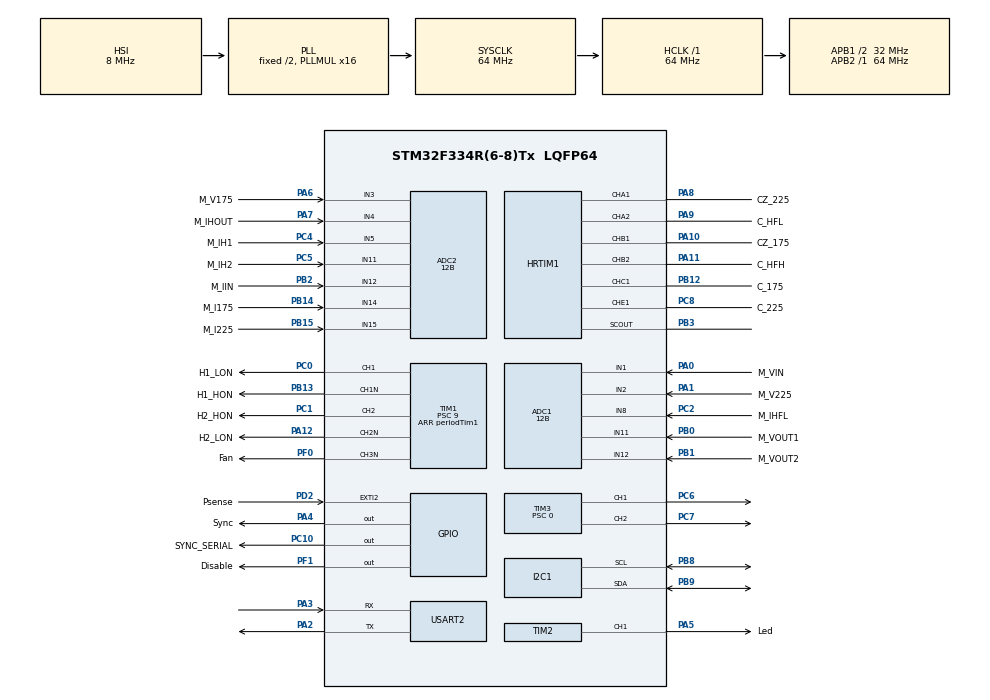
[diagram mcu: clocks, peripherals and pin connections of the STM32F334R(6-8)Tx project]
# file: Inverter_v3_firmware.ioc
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NVIC.EXTI2_TSC_IRQn=true\:4\:0\:true\:false\:true\:true\:true
HRTIM1.NumberSetSource1-Output_TE1=1
NVIC.ADC1_2_IRQn=true\:3\:0\:true\:true\:true\:3\:true\:true
HRTIM1.UpdateTrigger1-Output_TB1TB2=HRTIM_TIMUPDATETRIGGER_MASTER
ADC1.LowPowerAutoWait=DISABLE
TIM1.OCIdleState_1=TIM_OCIDLESTATE_RESET
TIM1.OCIdleState_2=TIM_OCIDLESTATE_RESET
NVIC.I2C1_EV_IRQn=true\:0\:0\:true\:true\:true\:7\:true\:true
ADC2.SamplingTime-1\#ChannelRegularConversion=ADC_SAMPLETIME_19CYCLES_5
VP_ADC1_TempSens_Input.Mode=IN-TempSens
TIM1.Pulse-PWM\ Generation1\ CH1\ CH1N=periodTim1/2+1
HRTIM1.NumberUpdateTrigger-Output_TB1TB2=2
TIM1.Break2State=TIM_BREAK2_DISABLE
PB14.GPIO_Label=M_I175
ADC1.Rank-17\#ChannelRegularConversion=1
HRTIM1.CompareUnit2-Output_TA1TA2=HRTIM_COMPAREUNIT_2
PA6.GPIO_Label=M_V175
ADC2.SamplingTime-4\#ChannelRegularConversion=ADC_SAMPLETIME_19CYCLES_5
PC5.Mode=IN11-Single-Ended
PB13.Signal=TIM1_CH1N
HRTIM1.ResetTrigger1-Output_TE1=HRTIM_TIMRESETTRIGGER_MASTER_PER
HRTIM1.ResetTrigger1-Output_TB1TB2=HRTIM_TIMRESETTRIGGER_MASTER_CMP1
TIM1.Pulse-PWM\ Generation2\ CH2\ CH2N=periodTim1/2
VP_TIM2_VS_ClockSourceITR.Mode=TriggerSource_ITR0
HRTIM1.NumberSetSource1-Output_TC1=1
HRTIM1.Event_EEV2=__NULL
HRTIM1.Event_EEV3=__NULL
HRTIM1.CompareUnit3-Output_TA1TA2=HRTIM_COMPAREUNIT_3
HRTIM1.ResetTrigger1-Output_TA1TA2=HRTIM_TIMRESETTRIGGER_MASTER_PER
ADC1.Offset-17\#ChannelRegularConversion=0
HRTIM1.NumberResetSource1-Output_TA1TA2=1
RCC.APB2TimFreq_Value=64000000
Dma.ADC1.0.Direction=DMA_PERIPH_TO_MEMORY
PC7.Signal=S_TIM3_CH2
HRTIM1.ResetOutput1_Source1-Output_TA1TA2=HRTIM_OUTPUTRESET_TIMCMP1
TIM1.AutomaticOutput=TIM_AUTOMATICOUTPUT_DISABLE
VP_TIM3_VS_ControllerModeClock.Mode=Clock Mode
ADC1.Rank-21\#ChannelRegularConversion=5
ADC2.EOCSelection=ADC_EOC_SEQ_CONV
ADC1.OffsetNumber-20\#ChannelRegularConversion=ADC_OFFSET_NONE
Dma.ADC1.0.MemDataAlignment=DMA_MDATAALIGN_WORD
HRTIM1.NumberResetSource1-Output_TE1=1
VP_HRTIM1_VS_hrtimMasterTimerNoOutput.Mode=MasterTimer
HRTIM1.ModeTimeBase-Output_TA1TA2=HRTIM_MODE_SINGLESHOT_RETRIGGERABLE
PB2.Signal=ADC2_IN12
PB3.Mode=SCOUTmode
ADC1.ScanConvMode=ADC_SCAN_ENABLE
ADC1.Offset-21\#ChannelRegularConversion=0
ADC2.OffsetNumber-4\#ChannelRegularConversion=ADC_OFFSET_NONE
TIM15.Period=19
PB12.GPIO_Label=C_175
HRTIM1.CompareUnit1-Output_TC1=HRTIM_COMPAREUNIT_1
VP_ADC1_Vref_Input.Mode=IN-Vrefint
TIM15.TIM_MasterSlaveMode=TIM_MASTERSLAVEMODE_DISABLE
HRTIM1.ModeTimeBase-Output_TB1TB2=HRTIM_MODE_SINGLESHOT_RETRIGGERABLE
ADC1.Channel-19\#ChannelRegularConversion=ADC_CHANNEL_8
PC4.GPIO_Label=M_IH1
HRTIM1.UpdateTrigger2-Output_TB1TB2=HRTIM_TIMUPDATETRIGGER_TIMER_B
ADC1.OffsetNumber-19\#ChannelRegularConversion=ADC_OFFSET_NONE
PB14.Mode=IN14-Single-Ended
PB1.GPIO_Label=M_VOUT2
Dma.ADC1.0.PeriphInc=DMA_PINC_DISABLE
TIM1.DeadTime=20
NVIC.TIM2_IRQn=true\:3\:0\:true\:true\:true\:5\:true\:true
PA0.Mode=IN1-Single-Ended
SH.ADCx_IN8.0=ADC1_IN8,IN8-Single-Ended
TIM1.OCMode_PWM-PWM\ Generation1\ CH1\ CH1N=TIM_OCMODE_PWM2
PA8.Signal=HRTIM1_CHA1
TIM1.OCMode_PWM-PWM\ Generation3\ CH3N=TIM_OCMODE_PWM1
TIM15.Channel-Output\ Compare1\ No\ Output=TIM_CHANNEL_1
ADC1.OffsetNumber-23\#ChannelRegularConversion=ADC_OFFSET_NONE
VP_TIM1_VS_ClockSourceINT.Mode=Internal
PA0.Signal=ADC1_IN1
HRTIM1.NumberResetSource1-Output_TC1=1
HRTIM1.UpdateTrigger1-Output_TA1TA2=HRTIM_TIMUPDATETRIGGER_MASTER
ADC1.SamplingTime-23\#ChannelRegularConversion=ADC_SAMPLETIME_61CYCLES_5
Mcu.Package=LQFP64
PB9.Signal=I2C1_SDA
TIM2.Prescaler=249
PB1.Signal=ADC1_IN12
ADC1.EnableInjectedConversion=DISABLE
ADC1.Channel-23\#ChannelRegularConversion=ADC_CHANNEL_VREFINT
HRTIM1.SyncOutputPolarity=HRTIM_SYNCOUTPUTPOLARITY_POSITIVE
ADC2.Overrun=ADC_OVR_DATA_OVERWRITTEN
HRTIM1.ResetOutput1_Source1-Output_TB1TB2=HRTIM_OUTPUTRESET_TIMCMP1
ADC2.Channel-1\#ChannelRegularConversion=ADC_CHANNEL_4
PA10.Signal=HRTIM1_CHB1
ADC2.Offset-2\#ChannelRegularConversion=0
ADC2.SubFamily=STM32F334x8
TIM15.OCMode_1=TIM_OCMODE_ACTIVE
PF1\ /\ OSC_OUT.GPIO_Speed=GPIO_SPEED_FREQ_HIGH
RCC.APB1TimFreq_Value=64000000
HRTIM1.UpdateTrigger2-Output_TA1TA2=HRTIM_TIMUPDATETRIGGER_TIMER_E
TIM3.Pulse-PWM\ Generation2\ CH2=1
ADC2.Rank-2\#ChannelRegularConversion=3
TIM1.Period=periodTim1
PB13.Mode=PWM Generation1 CH1 CH1N
HRTIM1.Enable=HRTIM_BURSTMODECTL_DISABLED
ADC2.Channel-5\#ChannelRegularConversion=ADC_CHANNEL_14
ADC2.EnableAnalogWatchDog1=false
PA4.GPIO_Label=Sync
ADC2.EnableAnalogWatchDog2=false
ADC1.EOCSelection=ADC_EOC_SEQ_CONV
ADC2.EnableAnalogWatchDog3=false
PC4.Mode=IN5-Single-Ended
ADC2.ScanConvMode=ADC_SCAN_ENABLE
HRTIM1.ResetTrigger1-Output_TC1=HRTIM_TIMRESETTRIGGER_MASTER_PER
ADC1.SamplingTime-19\#ChannelRegularConversion=ADC_SAMPLETIME_19CYCLES_5
HRTIM1.CompareUnit1-Output_TB1TB2=HRTIM_COMPAREUNIT_1
TIM1.OCPolarity_1=TIM_OCPOLARITY_HIGH
Dma.ADC1.0.Instance=DMA1_Channel1
TIM1.OCPolarity_2=TIM_OCPOLARITY_HIGH
ADC2.Offset-3\#ChannelRegularConversion=0
HRTIM1.NumberSetSource1-Output_TB1TB2=1
ADC1.Offset-18\#ChannelRegularConversion=0
ADC1.Channel-22\#ChannelRegularConversion=ADC_CHANNEL_TEMPSENSOR
HRTIM1.ResetUpdate-Output_TE1=HRTIM_TIMUPDATEONRESET_DISABLED
TIM1.CounterMode=TIM_COUNTERMODE_CENTERALIGNED3
ADC2.Rank-3\#ChannelRegularConversion=4
PA9.GPIO_Label=C_HFL
PC6.Signal=S_TIM3_CH1
PC2.Signal=ADCx_IN8
HRTIM1.PreloadEnable-Output_TB1TB2=HRTIM_PRELOAD_ENABLED
PA11.GPIO_Label=C_HFH
TIM1.Channel-PWM\ Generation1\ CH1\ CH1N=TIM_CHANNEL_1
ADC1.ExternalTrigConvEdge=ADC_EXTERNALTRIGCONVEDGE_RISING
PC0.Signal=S_TIM1_CH1
RCC.APB1CLKDivider=RCC_HCLK_DIV2
ADC2.SamplingTime-5\#ChannelRegularConversion=ADC_SAMPLETIME_61CYCLES_5
HRTIM1.NumberSetSource2_TB=1
HRTIM1.NumberSetSource2_TA=1
HRTIM1.CompareUnit1-Output_TE1=HRTIM_COMPAREUNIT_1
PA3.Mode=Asynchronous
TIM1.Channel-PWM\ Generation2\ CH2\ CH2N=TIM_CHANNEL_2
PA8.GPIO_Label=CZ_225
TIM3.Pulse-PWM\ Generation1\ CH1=1
PF1\ /\ OSC_OUT.GPIO_Label=Disable
ADC2.ContinuousConvMode=DISABLE
HRTIM1.PreloadEnable-Output_TA1TA2=HRTIM_PRELOAD_ENABLED
ADC1.Channel-18\#ChannelRegularConversion=ADC_CHANNEL_2
Dma.ADC1.0.Priority=DMA_PRIORITY_VERY_HIGH
PA9.Signal=HRTIM1_CHA2
HRTIM1.BurstMode-Output_TE1=HRTIM_TIMERBURSTMODE_MAINTAINCLOCK
PB13.GPIO_Speed=GPIO_SPEED_FREQ_HIGH
HRTIM1.PreloadEnable-MasterTimer=HRTIM_PRELOAD_ENABLED
Dma.I2C1_RX.1.Instance=DMA1_Channel5
Dma.I2C1_RX.1.PeriphInc=DMA_PINC_DISABLE
PF1\ /\ OSC_OUT.Signal=GPIO_Output
ADC2.OffsetNumber-1\#ChannelRegularConversion=ADC_OFFSET_NONE
TIM1.Pulse-PWM\ Generation3\ CH3N=zeroSwitchDelay
PB14.Signal=ADC2_IN14
PA5.Signal=S_TIM2_CH1_ETR
PF1\ /\ OSC_OUT.PinState=GPIO_PIN_SET
ADC2.OffsetNumber-0\#ChannelRegularConversion=ADC_OFFSET_NONE
NVIC.TIM1_BRK_TIM15_IRQn=true\:2\:0\:true\:false\:true\:true\:true
ADC2.LowPowerAutoWait=DISABLE
ADC2.Channel-2\#ChannelRegularConversion=ADC_CHANNEL_5
NVIC.TIM3_IRQn=true\:1\:0\:true\:true\:true\:6\:true\:true
HRTIM1.CompareValue3-Output_TA1TA2=14746
TIM1.TIM_MasterOutputTrigger=TIM_TRGO_UPDATE
PA1.Mode=IN2-Single-Ended
PF0\ /\ OSC_IN.Signal=TIM1_CH3N
PB15.GPIO_Label=M_I225
HRTIM1.CompareUnit1-Output_TA1TA2=HRTIM_COMPAREUNIT_1
PA1.GPIO_Label=M_V225
HRTIM1.CompareUnit2-Output_TB1TB2=HRTIM_COMPAREUNIT_2
PC1.GPIO_Speed=GPIO_SPEED_FREQ_HIGH
ADC1.SamplingTime-22\#ChannelRegularConversion=ADC_SAMPLETIME_61CYCLES_5
ADC1.DMAContinuousRequests=ENABLE
TIM2.Period=19
ADC2.Resolution=ADC_RESOLUTION_12B
ADC1.ExternalTrigConv=ADC_EXTERNALTRIGCONV_T2_TRGO
NVIC.TIM1_CC_IRQn=true\:5\:0\:true\:false\:true\:true\:true
PC8.Mode=Output_TE1
PA4.Signal=GPIO_Output
ADC1.master=1
PA5.GPIO_Label=Led
ADC2.NbrOfConversionFlag=1
ADC1.Offset-22\#ChannelRegularConversion=0
PA11.Signal=HRTIM1_CHB2
HRTIM1.CompareValue1-Output_TB1TB2=200
SH.S_TIM2_CH1_ETR.0=TIM2_CH1,PWM Generation1 CH1
HRTIM1.NumberUpdateTrigger-Output_TC1=0
ProjectManager.HeapSize=0x200
PB1.Mode=IN12-Single-Ended
HRTIM1.CompareValue2-Output_TB1TB2=200
NVIC.PriorityGroup=NVIC_PRIORITYGROUP_4
TIM3.Channel-PWM\ Generation2\ CH2=TIM_CHANNEL_2
PB8.Mode=I2C
HRTIM1.CompareValue1-Output_TA1TA2=200
ADC1.EnableRegularConversion=ENABLE
PA8.Mode=Output_TA1TA2
NVIC.DMA1_Channel1_IRQn=true\:0\:0\:false\:true\:true\:1\:false\:true
PD2.Signal=GPXTI2
HRTIM1.CompareUnit3-Output_TB1TB2=HRTIM_COMPAREUNIT_3
TIM15.TIM_MasterOutputTrigger=TIM_TRGO_OC1REF
PB0.Signal=ADC1_IN11
ADC1.SamplingTime-18\#ChannelRegularConversion=ADC_SAMPLETIME_19CYCLES_5
PC1.Signal=S_TIM1_CH2
ADC2.Offset-7\#ChannelRegularConversion=0
PD2.GPIO_Label=Psense
HRTIM1.IdleLevel1-Output_TE1=HRTIM_OUTPUTIDLELEVEL_INACTIVE
HRTIM1.CompareValue3-Output_TB1TB2=1638
Mcu.Family=STM32F3
PA6.Mode=IN3-Single-Ended
ADC2.OffsetNumber-2\#ChannelRegularConversion=ADC_OFFSET_NONE
RCC.CortexFreq_Value=64000000
NVIC.DMA1_Channel5_IRQn=true\:0\:0\:false\:true\:true\:2\:false\:true
PF0\ /\ OSC_IN.Mode=PWM Generation3 CH3N
HRTIM1.SyncOptions=HRTIM_SYNCOPTION_MASTER
ADC1.Overrun=ADC_OVR_DATA_OVERWRITTEN
ADC1.ContinuousConvMode=DISABLE
ADC2.Channel-0\#ChannelRegularConversion=ADC_CHANNEL_3
TIM1.RepetitionCounter=1
ADC1.Channel-17\#ChannelRegularConversion=ADC_CHANNEL_1
ADC1.OffsetNumber-22\#ChannelRegularConversion=ADC_OFFSET_NONE
ADC1.Offset-23\#ChannelRegularConversion=0
PC10.Signal=GPIO_Output
RCC.SYSCLKSourceVirtual=RCC_SYSCLKSOURCE_PLLCLK
Dma.I2C1_RX.1.MemInc=DMA_MINC_ENABLE
HRTIM1.CompareValue2-Output_TA1TA2=200
PA0.GPIO_Label=M_VIN
PC0.GPIO_Label=H1_LON
PA11.Mode=Output_TB1TB2
ADC1.SamplingTime-21\#ChannelRegularConversion=ADC_SAMPLETIME_19CYCLES_5
PB0.GPIO_Label=M_VOUT1
PC10.GPIO_Speed=GPIO_SPEED_FREQ_HIGH
PB13.GPIO_Label=H1_HON
PB15.Signal=ADC2_IN15
ADC2.DiscontinuousConvMode=DISABLE
ProjectManager.StackSize=0x400
ADC2.Rank-7\#ChannelRegularConversion=7
HRTIM1.ResetOutput2_Source1-Output_TB1TB2=HRTIM_OUTPUTRESET_TIMCMP3
PA12.Signal=TIM1_CH2N
TIM1.Prescaler=9
HRTIM1.SetOutput1_Source1-Output_TA1TA2=HRTIM_OUTPUTSET_MASTERPER
Mcu.UserConstants=baseChannel2Time,31999;periodTim1,64000;hrtimPeriod,16000;zeroSwitchDelay,10
ADC1.Rank-23\#ChannelRegularConversion=7
ADC2.DMAContinuousRequests=DISABLE
TIM15.Prescaler=249
ADC2.OffsetNumber-5\#ChannelRegularConversion=ADC_OFFSET_NONE
HRTIM1.Periode_MASTER=hrtimPeriod
ADC1.Mode=ADC_DUALMODE_REGSIMULT
ADC1.Offset-19\#ChannelRegularConversion=0
RCC.HCLKFreq_Value=64000000
Dma.I2C1_RX.1.Direction=DMA_PERIPH_TO_MEMORY
ADC1.Resolution=ADC_RESOLUTION_12B
TIM3.Period=3
HRTIM1.NumberResetTrigger-Output_TB1TB2=1
ADC1.SubFamily=STM32F334x8
HRTIM1.CompareUnit2-Output_TE1=__NULL
RCC.AHBFreq_Value=64000000
TIM3.Channel-PWM\ Generation1\ CH1=TIM_CHANNEL_1
RCC.HSE_VALUE=8000000
ADC1.Rank-20\#ChannelRegularConversion=4
USART2.VirtualMode-Asynchronous=VM_ASYNC
RCC.PLLMUL=RCC_PLL_MUL16
PA4.GPIO_Speed=GPIO_SPEED_FREQ_HIGH
HRTIM1.NumberSetSource1-Output_TA1TA2=1
HRTIM1.RepetitionUpdate-Output_TE1=HRTIM_UPDATEONREPETITION_DISABLED
PF0\ /\ OSC_IN.GPIO_Label=Fan
TIM3.Prescaler=0
ADC1.Rank-19\#ChannelRegularConversion=3
PA10.GPIO_Label=CZ_175
TIM2.Channel-PWM\ Generation1\ CH1=TIM_CHANNEL_1
SH.S_TIM3_CH1.0=TIM3_CH1,PWM Generation1 CH1
HRTIM1.ResetOutput1_Source1-Output_TE1=HRTIM_OUTPUTRESET_TIMCMP1
VP_TIM3_VS_ClockSourceITR.Mode=TriggerSource_ITR1
Dma.I2C1_RX.1.Mode=DMA_NORMAL
PA6.Signal=ADC2_IN3
ADC2.Offset-0\#ChannelRegularConversion=0
PB12.Mode=Output_TC1
ADC2.Rank-4\#ChannelRegularConversion=5
HRTIM1.NumberResetTrigger-Output_TE1=1
ADC2.SamplingTime-0\#ChannelRegularConversion=ADC_SAMPLETIME_19CYCLES_5
ADC1.SamplingTime-17\#ChannelRegularConversion=ADC_SAMPLETIME_19CYCLES_5
ADC1.Channel-21\#ChannelRegularConversion=ADC_CHANNEL_12
USART2.WordLength=WORDLENGTH_8B
TIM2.TIM_MasterOutputTrigger=TIM_TRGO_OC1REF
ADC2.SamplingTime-2\#ChannelRegularConversion=ADC_SAMPLETIME_19CYCLES_5
ADC2.NbrOfConversion=7
TIM1.BreakState=TIM_BREAK_DISABLE
ADC2.Offset-4\#ChannelRegularConversion=0
Dma.Request1=I2C1_RX
ADC2.Channel-7\#ChannelRegularConversion=ADC_CHANNEL_15
HRTIM1.ResetOutput1_Source1-Output_TC1=HRTIM_OUTPUTRESET_TIMCMP1
PC5.Signal=ADC2_IN11
ADC2.Rank-0\#ChannelRegularConversion=1
Dma.Request0=ADC1
HRTIM1.NumberResetSource2_TA=1
PC2.GPIO_Label=M_IHFL
HRTIM1.NumberResetSource2_TB=1
HRTIM1.ResetOutput2_Source1-Output_TA1TA2=HRTIM_OUTPUTRESET_TIMCMP3
PA12.GPIO_Speed=GPIO_SPEED_FREQ_HIGH
ADC2.Channel-3\#ChannelRegularConversion=ADC_CHANNEL_11
PA3.Signal=USART2_RX
ADC2.ClockPrescaler=ADC_CLOCK_SYNC_PCLK_DIV1
HRTIM1.ModeTimeBase-Output_TC1=HRTIM_MODE_SINGLESHOT_RETRIGGERABLE
ADC1.OffsetNumber-17\#ChannelRegularConversion=ADC_OFFSET_NONE
ADC2.Mode=ADC_DUALMODE_REGSIMULT
ADC1.Rank-22\#ChannelRegularConversion=6
PA7.Mode=IN4-Single-Ended
PC10.GPIO_Label=SYNC_SERIAL
PA10.Mode=Output_TB1TB2
HRTIM1.NumberResetTrigger-Output_TC1=1
ADC1.Rank-18\#ChannelRegularConversion=2
PC8.Signal=HRTIM1_CHE1
PC4.Signal=ADC2_IN5
ADC1.DiscontinuousConvMode=DISABLE
HRTIM1.SyncOutputSource=HRTIM_SYNCOUTPUTSOURCE_TIMA_START
ADC2.EnableRegularConversion=ENABLE
NVIC.USART2_IRQn=true\:6\:0\:true\:true\:true\:8\:true\:true
PA12.GPIO_Label=H2_LON
TIM2.Pulse-PWM\ Generation1\ CH1=1
HRTIM1.HalfModeEnable-Output_TE1=HRTIM_HALFMODE_DISABLED
HRTIM1.SetOutput1_Source1-Output_TB1TB2=HRTIM_OUTPUTSET_MASTERCMP1
HRTIM1.ModeTimeBase-Output_TE1=HRTIM_MODE_SINGLESHOT_RETRIGGERABLE
PC8.GPIO_Label=C_225
ADC2.OffsetNumber-3\#ChannelRegularConversion=ADC_OFFSET_NONE
Dma.ADC1.0.PeriphDataAlignment=DMA_PDATAALIGN_WORD
PA9.Mode=Output_TA1TA2
PC0.GPIO_Speed=GPIO_SPEED_FREQ_HIGH
SH.S_TIM1_CH1.0=TIM1_CH1,PWM Generation1 CH1 CH1N
ProjectManager.TargetToolchain=Other Toolchains (GPDSC)
ADC1.OffsetNumber-21\#ChannelRegularConversion=ADC_OFFSET_NONE
ADC1.SamplingTime-20\#ChannelRegularConversion=ADC_SAMPLETIME_19CYCLES_5
Dma.ADC1.0.Mode=DMA_CIRCULAR
PB9.Mode=I2C
HRTIM1.ResetUpdate-Output_TA1TA2=HRTIM_TIMUPDATEONRESET_DISABLED
ADC1.EnableAnalogWatchDog3=false
ADC1.EnableAnalogWatchDog2=false
ADC1.EnableAnalogWatchDog1=false
RCC.LSE_VALUE=32768
TIM1.Channel-PWM\ Generation3\ CH3N=TIM_CHANNEL_3
PA1.Signal=ADC1_IN2
HRTIM1.CompareValue1-MasterTimer=14746
HRTIM1.Polarity1-Output_TE1=HRTIM_OUTPUTPOLARITY_HIGH
SH.S_TIM3_CH2.0=TIM3_CH2,PWM Generation2 CH2
HRTIM1.ADCTrigger_Id1=__NULL
PB0.Mode=IN11-Single-Ended
board=Inverter_v3_firmware
Dma.I2C1_RX.1.PeriphDataAlignment=DMA_PDATAALIGN_BYTE
Dma.I2C1_RX.1.Priority=DMA_PRIORITY_LOW
TIM1.OCNPolarity_1=TIM_OCNPOLARITY_HIGH
PB15.Mode=IN15-Single-Ended
TIM1.OCNIdleState_2=TIM_OCNIDLESTATE_RESET
TIM1.OCNIdleState_1=TIM_OCNIDLESTATE_RESET
ADC2.DataAlign=ADC_DATAALIGN_RIGHT
ADC2.Offset-1\#ChannelRegularConversion=0
RCC.APB2Freq_Value=64000000
TIM1.OCNPolarity_3=TIM_OCNPOLARITY_LOW
TIM1.OCNPolarity_2=TIM_OCNPOLARITY_HIGH
VP_TIM15_VS_ClockSourceITR.Mode=TriggerSource_ITR0
ADC2.Rank-5\#ChannelRegularConversion=6
HRTIM1.CompareValue1-Output_TE1=8192
SH.S_TIM1_CH2.0=TIM1_CH2,PWM Generation2 CH2 CH2N
VP_TIM2_VS_ClockSourceINT.Mode=Internal
ADC1.Channel-20\#ChannelRegularConversion=ADC_CHANNEL_11
PC1.GPIO_Label=H2_HON
Dma.I2C1_RX.1.MemDataAlignment=DMA_MDATAALIGN_BYTE
TIM1.OffStateRunMode=TIM_OSSR_DISABLE
ADC2.SamplingTime-3\#ChannelRegularConversion=ADC_SAMPLETIME_19CYCLES_5
ADC1.NbrOfConversion=7
Mcu.Name=STM32F334R(6-8)Tx
ADC2.OffsetNumber-7\#ChannelRegularConversion=ADC_OFFSET_NONE
HRTIM1.SetOutput2_Source1-Output_TB1TB2=HRTIM_OUTPUTSET_TIMCMP2
PA2.Signal=USART2_TX
HRTIM1.SetOutput1_Source1-Output_TE1=HRTIM_OUTPUTSET_MASTERPER
ADC2.EnableInjectedConversion=DISABLE
HRTIM1.NumberResetTrigger-Output_TA1TA2=1
ADC2.SamplingTime-7\#ChannelRegularConversion=ADC_SAMPLETIME_61CYCLES_5
PB3.Signal=HRTIM1_SCOUT
RCC.SYSCLKFreq_VALUE=64000000
TIM1.TIM_MasterOutputTrigger2=TIM_TRGO2_UPDATE
PA7.GPIO_Label=M_IHOUT
PA12.Mode=PWM Generation2 CH2 CH2N
HRTIM1.NumberResetSource1-Output_TB1TB2=1
PC5.GPIO_Label=M_IH2
HRTIM1.SetOutput2_Source1-Output_TA1TA2=HRTIM_OUTPUTSET_TIMCMP2
PB2.Mode=IN12-Single-Ended
ADC1.Offset-20\#ChannelRegularConversion=0
HRTIM1.SetOutput1_Source1-Output_TC1=HRTIM_OUTPUTSET_MASTERPER
VP_TIM15_VS_ClockSourceINT.Mode=Internal
VP_TIM15_VS_no_output1.Mode=Output Compare1 No Output
HRTIM1.CompareValue1-Output_TC1=6192
Dma.ADC1.0.MemInc=DMA_MINC_ENABLE
PB2.GPIO_Label=M_IIN
RCC.HSI_VALUE=8000000
NVIC.TIM1_UP_TIM16_IRQn=true\:5\:0\:true\:true\:true\:4\:true\:true
PA5.GPIO_Speed=GPIO_SPEED_FREQ_HIGH
ADC1.NbrOfConversionFlag=1
ADC1.OffsetNumber-18\#ChannelRegularConversion=ADC_OFFSET_NONE
RCC.HRTIMSelection=RCC_HRTIM1CLK_PLLCLK
ADC2.Rank-1\#ChannelRegularConversion=2
PA2.Mode=Asynchronous
PB8.Signal=I2C1_SCL
ADC2.Offset-5\#ChannelRegularConversion=0
TIM3.TIM_MasterOutputTrigger=TIM_TRGO_UPDATE
ADC1.DataAlign=ADC_DATAALIGN_RIGHT
RCC.APB1Freq_Value=32000000
HRTIM1.NumberUpdateTrigger-Output_TA1TA2=2
VP_CRC_VS_CRC.Mode=CRC_Activate
ADC2.Channel-4\#ChannelRegularConversion=ADC_CHANNEL_12
ADC1.ClockPrescaler=ADC_CLOCK_SYNC_PCLK_DIV1
HRTIM1.CompareUnit1-MasterTimer=HRTIM_COMPAREUNIT_1
HRTIM1.Periode_TA=hrtimPeriod
HRTIM1.Periode_TC=hrtimPeriod
PB12.Signal=HRTIM1_CHC1
HRTIM1.Periode_TE=hrtimPeriod
TIM1.TIM_MasterSlaveMode=TIM_MASTERSLAVEMODE_DISABLE
PA7.Signal=ADC2_IN4

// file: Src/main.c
/* USER CODE BEGIN Header */
/**
  ******************************************************************************
  * @file           : main.c
  * @brief          : Main program body
  ******************************************************************************
  * @attention
  *
  * <h2><center>&copy; Copyright (c) 2019 STMicroelectronics.
  * All rights reserved.</center></h2>
  *
  * This software component is licensed by ST under BSD 3-Clause license,
  * the "License"; You may not use this file except in compliance with the
  * License. You may obtain a copy of the License at:
  *                        opensource.org/licenses/BSD-3-Clause
  *
  ******************************************************************************
  */
/* USER CODE END Header */

#include "main.h"
#include "adc.h"
#include "crc.h"
#include "dma.h"
#include "hrtim.h"
#include "i2c.h"
#include "tim.h"
#include "usart.h"
#include "gpio.h"

/* USER CODE BEGIN Includes */
#include <stdbool.h>
#include "Loop.h"
#include "MedianFilter.h"
#include "Measure.h"
#include "Command.h"
#include "Waveform.h"
#include "Temperature.h"
/* USER CODE END Includes */

/* USER CODE BEGIN PV */
/* Private variables ---------------------------------------------------------*/
volatile int mutexStats;

/* USER CODE END PV */

void SystemClock_Config(void);
static void MX_NVIC_Init(void);
/* USER CODE BEGIN PFP */
/* Private function prototypes -----------------------------------------------*/

/* USER CODE END PFP */

/* USER CODE BEGIN 0 */
void delay_us_DWT(unsigned long  uSec)
{
	volatile uint32_t cycles = (SystemCoreClock / 1000000L)*uSec;
	volatile uint32_t start = DWT->CYCCNT;
	do {
	} while (DWT->CYCCNT - start < cycles);
}

#define SLOTS 4
static volatile uint32_t start[4];

void start_us_DWT(int slot)
{
	if (slot < SLOTS) {
		start[slot] = DWT->CYCCNT;
	}
}

unsigned int get_us_DWT(int slot)
{
	if (slot < SLOTS) {
		unsigned long long val;
		if (DWT->CYCCNT < start[slot]) {
			val = (DWT->CYCCNT - start[slot]) + (1LL << 32);
		} else {
			val = (DWT->CYCCNT - start[slot]);
		}
		return val * 1000000L / SystemCoreClock;
	}
	return 0xFFFFFFFF;
}

int g_DMACount = 0;

void doPin(GPIO_TypeDef* port, uint16_t pin)
{
	HAL_GPIO_WritePin(port, pin, GPIO_PIN_SET);
	delay_us_DWT(100);

	//HAL_GPIO_WritePin(Disable_GPIO_Port, Disable_Pin, GPIO_PIN_SET);
	delay_us_DWT(100);
	//HAL_GPIO_WritePin(Disable_GPIO_Port, Disable_Pin, GPIO_PIN_RESET);
	delay_us_DWT(100);
	HAL_GPIO_WritePin(port, pin, GPIO_PIN_RESET);
	delay_us_DWT(100);
}

/* USER CODE END 0 */

int main(void)
{
  /* USER CODE BEGIN 1 */
	DWT->CYCCNT = 0;
  // Enable hi resolution counter
	DWT->CTRL &= ~0x00000001;
	DWT->CTRL |= 0x00000001;
  /* USER CODE END 1 */

  /* MCU Configuration--------------------------------------------------------*/

  /* Reset of all peripherals, Initializes the Flash interface and the Systick. */
  HAL_Init();

  /* Configure the system clock */
  SystemClock_Config();

  /* Initialize all configured peripherals */
  MX_GPIO_Init();
  MX_DMA_Init();
  MX_ADC1_Init();
  MX_ADC2_Init();
  MX_CRC_Init();
  MX_TIM3_Init();
  MX_HRTIM1_Init();
  MX_TIM2_Init();
  MX_TIM1_Init();
  MX_TIM15_Init();
  MX_USART2_UART_Init();
  MX_I2C1_Init();

  /* Initialize interrupts */
  MX_NVIC_Init();
  /* USER CODE BEGIN 2 */

	do_initializeMedian();
	HAL_Delay(10);
	HAL_ADCEx_Calibration_Start(&hadc1, ADC_SINGLE_ENDED);
	HAL_ADCEx_Calibration_Start(&hadc2, ADC_SINGLE_ENDED);
	HAL_Delay(10);

	initializeTemperatureSensors();

	// tim3 sine wave synthesis
	//__HAL_TIM_ENABLE_IT(&htim3, TIM_IT_UPDATE);
	HAL_TIM_PWM_Start_IT(&htim3, TIM_CHANNEL_1);
	HAL_TIM_PWM_Start(&htim3, TIM_CHANNEL_2);

	// tim16 aux timer
	HAL_TIM_PWM_Start_IT(&htim15, TIM_CHANNEL_1);
	// tim2 for ADC DMA
	HAL_TIM_PWM_Start(&htim2, TIM_CHANNEL_1);

	// try to synchronize tim2 and hrtim
	// hrtim for all fast transistor functions
	//HAL_HRTIM_SimpleBaseStart_IT(&hhrtim1, HRTIM_TIMERINDEX_MASTER);
	HAL_HRTIM_SimpleOCStart(&hhrtim1, HRTIM_TIMERINDEX_MASTER, HRTIM_COMPAREUNIT_1);
	HAL_HRTIM_WaveformOutputStart(&hhrtim1, HRTIM_OUTPUT_TA1 | HRTIM_OUTPUT_TA2);
	HAL_HRTIM_SimpleOCStart(&hhrtim1, HRTIM_TIMERINDEX_TIMER_A, HRTIM_COMPAREUNIT_1);
	HAL_HRTIM_WaveformOutputStart(&hhrtim1, HRTIM_OUTPUT_TB1 | HRTIM_OUTPUT_TB2);
	HAL_HRTIM_SimpleOCStart(&hhrtim1, HRTIM_TIMERINDEX_TIMER_B, HRTIM_COMPAREUNIT_1);

	// 175 and 225 V regulators
	HAL_HRTIM_WaveformOutputStart(&hhrtim1, HRTIM_OUTPUT_TC1);
	HAL_HRTIM_SimpleOCStart(&hhrtim1, HRTIM_TIMERINDEX_TIMER_C, HRTIM_COMPAREUNIT_1);
	HAL_HRTIM_WaveformOutputStart(&hhrtim1, HRTIM_OUTPUT_TC1);
	HAL_HRTIM_SimpleOCStart(&hhrtim1, HRTIM_TIMERINDEX_TIMER_E, HRTIM_COMPAREUNIT_1);
	HAL_HRTIM_WaveformOutputStart(&hhrtim1, HRTIM_OUTPUT_TE1);

	// ADC
	HAL_ADC_Start(&hadc2);
	HAL_ADCEx_MultiModeStart_DMA(&hadc1, (uint32_t*) g_ADCBufferM, ADC_BUFFERM_LENGTH);

	// Low frequency output switches are connected on timer 1

#if 0
	setOutputSlowSwitch(true);
#else
	HAL_TIM_Base_Start_IT(&htim1);
	HAL_TIM_PWM_Start_IT(&htim1, TIM_CHANNEL_1);
	HAL_TIMEx_PWMN_Start_IT(&htim1, TIM_CHANNEL_1);
	HAL_TIM_PWM_Start_IT(&htim1, TIM_CHANNEL_2);
	HAL_TIMEx_PWMN_Start_IT(&htim1, TIM_CHANNEL_2);
#endif

	//fan PWM
	HAL_TIMEx_PWMN_Start(&htim1, TIM_CHANNEL_3);

	initializeCommand();

	doEnableSwitches();

  /* USER CODE END 2 */

  /* Infinite loop */
  while (1)
  {

    /* USER CODE BEGIN 3 */
	  doLoop();
  }
  /* USER CODE END 3 */
}

void SystemClock_Config(void)
{
  RCC_OscInitTypeDef RCC_OscInitStruct = {0};
  RCC_ClkInitTypeDef RCC_ClkInitStruct = {0};
  RCC_PeriphCLKInitTypeDef PeriphClkInit = {0};

  /** Initializes the CPU, AHB and APB busses clocks
  */
  RCC_OscInitStruct.OscillatorType = RCC_OSCILLATORTYPE_HSI;
  RCC_OscInitStruct.HSIState = RCC_HSI_ON;
  RCC_OscInitStruct.HSICalibrationValue = RCC_HSICALIBRATION_DEFAULT;
  RCC_OscInitStruct.PLL.PLLState = RCC_PLL_ON;
  RCC_OscInitStruct.PLL.PLLSource = RCC_PLLSOURCE_HSI;
  RCC_OscInitStruct.PLL.PLLMUL = RCC_PLL_MUL16;
  if (HAL_RCC_OscConfig(&RCC_OscInitStruct) != HAL_OK)
  {
    Error_Handler();
  }
  /** Initializes the CPU, AHB and APB busses clocks
  */
  RCC_ClkInitStruct.ClockType = RCC_CLOCKTYPE_HCLK|RCC_CLOCKTYPE_SYSCLK
                              |RCC_CLOCKTYPE_PCLK1|RCC_CLOCKTYPE_PCLK2;
  RCC_ClkInitStruct.SYSCLKSource = RCC_SYSCLKSOURCE_PLLCLK;
  RCC_ClkInitStruct.AHBCLKDivider = RCC_SYSCLK_DIV1;
  RCC_ClkInitStruct.APB1CLKDivider = RCC_HCLK_DIV2;
  RCC_ClkInitStruct.APB2CLKDivider = RCC_HCLK_DIV1;

  if (HAL_RCC_ClockConfig(&RCC_ClkInitStruct, FLASH_LATENCY_2) != HAL_OK)
  {
    Error_Handler();
  }
  PeriphClkInit.PeriphClockSelection = RCC_PERIPHCLK_HRTIM1|RCC_PERIPHCLK_I2C1
                              |RCC_PERIPHCLK_TIM1;
  PeriphClkInit.I2c1ClockSelection = RCC_I2C1CLKSOURCE_HSI;
  PeriphClkInit.Tim1ClockSelection = RCC_TIM1CLK_HCLK;
  PeriphClkInit.Hrtim1ClockSelection = RCC_HRTIM1CLK_PLLCLK;
  if (HAL_RCCEx_PeriphCLKConfig(&PeriphClkInit) != HAL_OK)
  {
    Error_Handler();
  }
}

/**
  * @brief NVIC Configuration.
  * @retval None
  */
static void MX_NVIC_Init(void)
{
  /* DMA1_Channel1_IRQn interrupt configuration */
  HAL_NVIC_SetPriority(DMA1_Channel1_IRQn, 0, 0);
  HAL_NVIC_EnableIRQ(DMA1_Channel1_IRQn);
  /* DMA1_Channel5_IRQn interrupt configuration */
  HAL_NVIC_SetPriority(DMA1_Channel5_IRQn, 0, 0);
  HAL_NVIC_EnableIRQ(DMA1_Channel5_IRQn);
  /* ADC1_2_IRQn interrupt configuration */
  HAL_NVIC_SetPriority(ADC1_2_IRQn, 3, 0);
  HAL_NVIC_EnableIRQ(ADC1_2_IRQn);
  /* TIM1_UP_TIM16_IRQn interrupt configuration */
  HAL_NVIC_SetPriority(TIM1_UP_TIM16_IRQn, 5, 0);
  HAL_NVIC_EnableIRQ(TIM1_UP_TIM16_IRQn);
  /* TIM2_IRQn interrupt configuration */
  HAL_NVIC_SetPriority(TIM2_IRQn, 3, 0);
  HAL_NVIC_EnableIRQ(TIM2_IRQn);
  /* TIM3_IRQn interrupt configuration */
  HAL_NVIC_SetPriority(TIM3_IRQn, 1, 0);
  HAL_NVIC_EnableIRQ(TIM3_IRQn);
  /* I2C1_EV_IRQn interrupt configuration */
  HAL_NVIC_SetPriority(I2C1_EV_IRQn, 0, 0);
  HAL_NVIC_EnableIRQ(I2C1_EV_IRQn);
  /* USART2_IRQn interrupt configuration */
  HAL_NVIC_SetPriority(USART2_IRQn, 6, 0);
  HAL_NVIC_EnableIRQ(USART2_IRQn);
}

/* USER CODE BEGIN 4 */
#if WORKAROUND
// usage of malloc or new seems to need this
void _exit(int i)
{
	while (true)
		;
}
void _getpid()
{
}
void _kill()
{
}
void _sbrk()
{
}
#endif
/* USER CODE END 4 */

void Error_Handler(void)
{
  /* USER CODE BEGIN Error_Handler_Debug */
	doDisableSwitches();
  /* User can add his own implementation to report the HAL error return state */
  while(1)
  {
  }
  /* USER CODE END Error_Handler_Debug */
}

/************************ (C) COPYRIGHT STMicroelectronics *****END OF FILE****/
